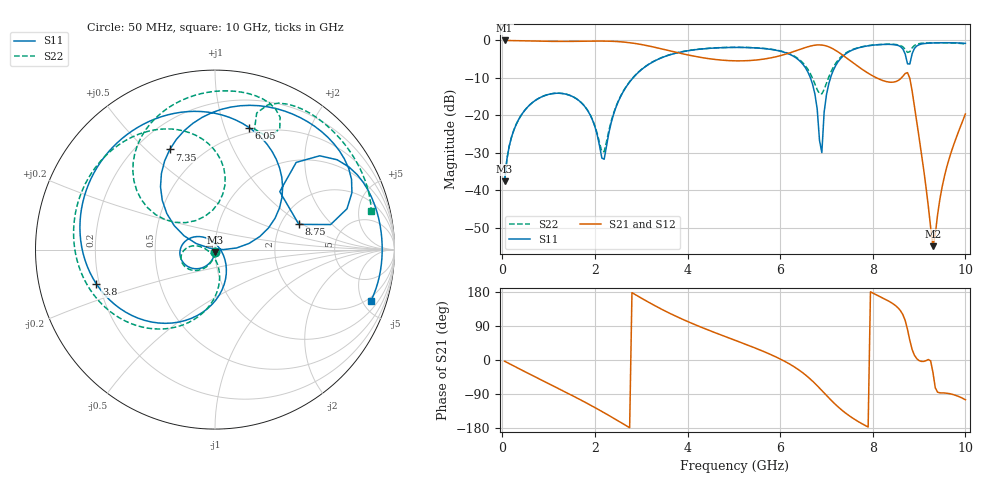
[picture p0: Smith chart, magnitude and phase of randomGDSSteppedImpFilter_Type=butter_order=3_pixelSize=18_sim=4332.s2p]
! freq	dB(S11)	phase(S11)	dB(S12)	phase(S12)
!  dB(S21)	phase(S21)	dB(S22)	phase(S22)
!S-par simulation data
#  GHz  S  DB  R 50
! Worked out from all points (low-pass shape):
!   200 points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, 50 MHz to 10 GHz, reference 50 ohm
!   highest |S21| = -0.01 dB at 50 MHz (marker M1); lowest = -54.9 dB at 9.3 GHz (marker M2)
!   |S21| within 3 dB of the highest: start of sweep to 3.696 GHz; 6.284 GHz to 7.243 GHz (959 MHz wide, 14.2 % of centre)
!   lowest |S11| = -37.6 dB at 50 MHz (marker M3), VSWR 1.03, Z = 49.9 - j1.31 ohm
!   |S11| at or under -10 dB: start of sweep to 2.823 GHz; 6.654 GHz to 7.088 GHz (434.1 MHz wide, 6.32 % of centre)
!   |S22| runs from -37.6 to -0.6 dB; largest |S21 - S12| = 0
!   S11 on the Smith chart (normalised r, x): 50 MHz: 1.00, -0.03; 3.8 GHz: 0.19, -0.14; 6.05 GHz: 0.45, +1.22; 7.35 GHz: 0.33, +0.59; 8.75 GHz: 2.51, +0.93; 10 GHz: 1.64, -5.73
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0.05  -37.63 -92.8  -0.01 -3.2  -0.01 -3.2  -37.62 -92.3
0.25  -23.93 -107.0  -0.04 -15.9  -0.04 -15.9  -23.93 -105.2
0.6  -17.14 -130.5  -0.13 -37.8  -0.13 -37.8  -17.13 -126.0
1.75  -17.19 149.6  -0.21 -109.0  -0.21 -109.0  -17.16 172.6
2.2  -31.73 17.5  -0.18 -139.2  -0.18 -139.2  -29.71 -120.3
2.6  -13.93 -75.3  -0.41 -167.8  -0.41 -167.8  -13.82 -84.2
3.4  -4.83 -138.2  -2.14 136.5  -2.14 136.5  -4.79 -130.6
3.8  -3.25 -163.8  -3.31 112.6  -3.31 112.6  -3.21 -152.2
5.05  -1.86 129.9  -5.45 50.9  -5.45 50.9  -1.83 153.0
6.05  -3.02 74.3  -3.91 -0.4  -3.91 -0.4  -2.94 109.7
6.7  -11.71 16.2  -1.38 -55.8  -1.38 -55.8  -10.11 82.0
6.9  -29.97 165.0  -1.23 -80.5  -1.23 -80.5  -14.26 123.3
6.95  -19.15 162.2  -1.33 -86.9  -1.33 -86.9  -13.09 137.4
7.05  -11.58 149.6  -1.71 -99.8  -1.71 -99.8  -9.76 149.1
7.35  -4.26 114.3  -3.92 -134.1  -3.92 -134.1  -3.99 136.4
7.8  -1.65 76.4  -7.96 -170.4  -7.96 -170.4  -1.60 108.3
8.35  -1.04 41.7  -11.12 155.0  -11.12 155.0  -1.01 80.3
8.75  -6.23 16.7  -8.60 80.8  -8.60 80.8  -3.19 64.4
8.9  -2.12 41.8  -17.61 12.4  -17.61 12.4  -1.33 70.0
9.3  -0.66 13.2  -54.94 -33.2  -54.94 -33.2  -0.63 48.1
9.55  -0.62 1.6  -36.17 -87.0  -36.17 -87.0  -0.63 36.9
10  -0.78 -18.4  -19.63 -105.0  -19.63 -105.0  -0.94 13.7
